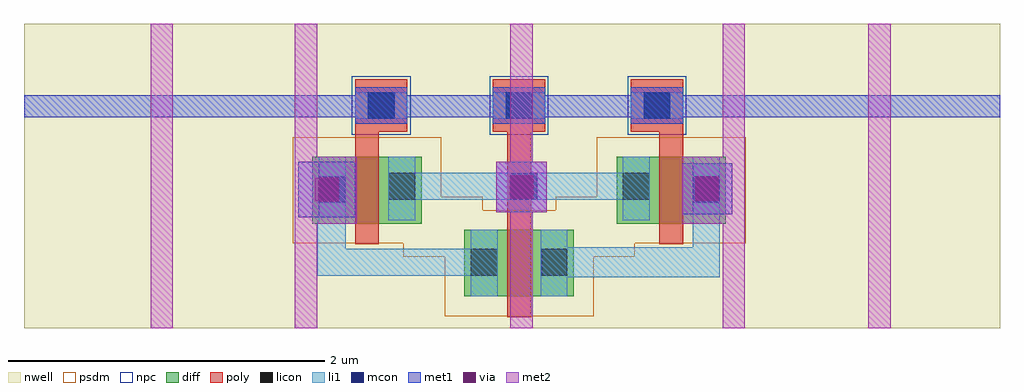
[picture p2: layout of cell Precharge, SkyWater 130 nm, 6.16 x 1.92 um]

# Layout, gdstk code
import gdstk
lib = gdstk.Library(unit=1e-6, precision=1e-09)
def R(c, l, rs):  # rectangles x0, y0, x1, y1
    for r in rs: c.add(gdstk.rectangle(r[:2], r[2:], *l))
def A(c, l, x, y, w, h, nx, ny, dx, dy):  # array of equal rectangles
    R(c, l, [(x+i*dx, y+j*dy, x+i*dx+w, y+j*dy+h) for i in range(nx) for j in range(ny)])
nwell = (64, 20)
diff = (65, 20)
poly = (66, 20)
licon = (66, 44)
li1 = (67, 20)
mcon = (67, 44)
met1 = (68, 20)
via = (68, 44)
met2 = (69, 20)
psdm = (94, 20)
npc = (95, 20)

precharge = lib.new_cell('Precharge')
R(precharge, nwell, [(12.21,1.7,18.37,3.62)])
R(precharge, diff, [(14.99,1.9,15.68,2.32), (14.03,2.36,14.72,2.78), (15.95,2.36,16.64,2.78)])
A(precharge, poly, 14.3, 2.94, 0.33, 0.33, 3, 1, 0.87, 0)
R(precharge, poly, [(15.26,1.77,15.41,2.94), (14.3,2.23,14.45,2.94), (16.22,2.23,16.37,2.94)])
A(precharge, licon, 14.38, 3.02, 0.17, 0.17, 3, 1, 0.87, 0)
R(precharge, licon, [(15.03,2.03,15.2,2.2), (15.47,2.03,15.64,2.2), (14.07,2.49,14.24,2.66), (16.43,2.49,16.6,2.66), (14.51,2.51,14.68,2.68), (15.99,2.51,16.16,2.68)])
A(precharge, li1, 14.3, 3.02, 0.33, 0.17, 3, 1, 0.87, 0)
R(precharge, li1, [(15.03,1.9,15.2,2.03), (15.47,1.9,15.64,2.02), (15.47,2.02,16.6,2.21), (14.06,2.03,15.2,2.2), (14.06,2.2,14.24,2.37), (15.03,2.2,15.2,2.32), (15.47,2.21,15.64,2.32), (16.43,2.21,16.6,2.78), (14.07,2.37,14.24,2.78), (14.51,2.38,14.68,2.51), (15.99,2.38,16.16,2.51), (14.51,2.51,16.16,2.68), (14.51,2.68,14.68,2.78), (15.99,2.68,16.16,2.78)])
A(precharge, mcon, 14.38, 3.02, 0.17, 0.17, 3, 1, 0.87, 0)
R(precharge, mcon, [(14.07,2.49,14.24,2.66), (16.43,2.49,16.6,2.66), (15.28,2.51,15.45,2.68)])
A(precharge, met1, 14.3, 2.99, 0.33, 0.04, 3, 1, 0.87, 0)
A(precharge, met1, 14.3, 3.17, 0.33, 0.05, 3, 1, 0.87, 0)
R(precharge, met1, [(13.94,2.4,14.3,2.75), (16.36,2.42,16.68,2.74), (15.19,2.43,15.51,2.75), (12.21,3.03,18.37,3.17)])
R(precharge, via, [(14.045,2.5,14.195,2.65), (16.445,2.505,16.595,2.655), (15.275,2.515,15.425,2.665)])
R(precharge, met2, [(13.01,1.7,13.15,3.62), (13.92,1.7,14.06,2.36), (15.28,1.7,15.42,2.43), (16.62,1.7,16.76,2.36), (17.54,1.7,17.68,3.62), (13.92,2.36,14.31,2.78), (16.36,2.36,16.76,2.78), (15.19,2.43,15.51,2.75), (15.28,2.75,15.42,3.62), (13.92,2.78,14.06,3.62), (16.62,2.78,16.76,3.62)])
R(precharge, psdm, [(14.865,1.775,15.805,2.15), (14.605,2.15,16.065,2.235), (13.905,2.235,16.765,2.445), (13.905,2.445,15.105,2.53), (15.565,2.445,16.765,2.53), (13.905,2.53,14.845,2.905), (15.825,2.53,16.765,2.905)])
A(precharge, npc, 14.28, 2.92, 0.37, 0.37, 3, 1, 0.87, 0)

lib.write_gds('Precharge.gds')
